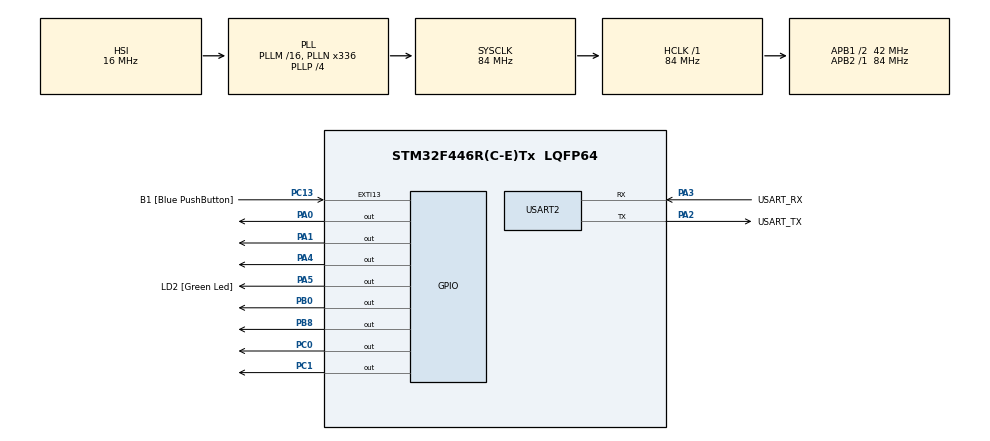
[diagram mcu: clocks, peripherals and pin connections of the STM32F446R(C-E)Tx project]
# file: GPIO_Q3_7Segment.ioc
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Mcu.Family=STM32F4
Mcu.Name=STM32F446R(C-E)Tx
Mcu.Package=LQFP64
NVIC.PriorityGroup=NVIC_PRIORITYGROUP_0
PA0-WKUP.Signal=GPIO_Output
PA1.Signal=GPIO_Output
PA13.GPIO_Label=TMS
PA13.Mode=Serial_Wire
PA13.Signal=SYS_JTMS-SWDIO
PA14.GPIO_Label=TCK
PA14.Mode=Serial_Wire
PA14.Signal=SYS_JTCK-SWCLK
PA2.GPIO_Label=USART_TX
PA2.Mode=Asynchronous
PA2.Signal=USART2_TX
PA3.GPIO_Label=USART_RX
PA3.Mode=Asynchronous
PA3.Signal=USART2_RX
PA4.Signal=GPIO_Output
PA5.GPIO_Label=LD2 [Green Led]
PA5.Signal=GPIO_Output
PB0.Signal=GPIO_Output
PB3.GPIO_Label=SWO
PB3.Signal=SYS_JTDO-SWO
PB8.Signal=GPIO_Output
PC0.Signal=GPIO_Output
PC1.Signal=GPIO_Output
PC13.GPIO_Label=B1 [Blue PushButton]
PC13.GPIO_ModeDefaultEXTI=GPIO_MODE_IT_FALLING
PC13.Signal=GPXTI13
PC14-OSC32_IN.Mode=LSE-External-Oscillator
PC14-OSC32_IN.Signal=RCC_OSC32_IN
PC15-OSC32_OUT.Mode=LSE-External-Oscillator
PC15-OSC32_OUT.Signal=RCC_OSC32_OUT
PH0-OSC_IN.Mode=HSE-External-Oscillator
PH0-OSC_IN.Signal=RCC_OSC_IN
PH1-OSC_OUT.Mode=HSE-External-Oscillator
PH1-OSC_OUT.Signal=RCC_OSC_OUT
ProjectManager.HeapSize=0x200
ProjectManager.StackSize=0x400
ProjectManager.TargetToolchain=STM32CubeIDE
RCC.48MHZClocksFreq_Value=84000000
RCC.AHBFreq_Value=84000000
RCC.APB1CLKDivider=RCC_HCLK_DIV2
RCC.APB1Freq_Value=42000000
RCC.APB1TimFreq_Value=84000000
RCC.APB2Freq_Value=84000000
RCC.APB2TimFreq_Value=84000000
RCC.CortexFreq_Value=84000000
RCC.FLatency-AdvancedSettings=FLASH_LATENCY_2
RCC.HCLKFreq_Value=84000000
RCC.HSE_VALUE=8000000
RCC.HSI_VALUE=16000000
RCC.PLLN=336
RCC.PLLP=RCC_PLLP_DIV4
RCC.SYSCLKFreq_VALUE=84000000
RCC.SYSCLKSource=RCC_SYSCLKSOURCE_PLLCLK
RCC.USBFreq_Value=168000000
RCC.VCOOutputFreq_Value=336000000
USART2.VirtualMode=VM_ASYNC
board=NUCLEO-F446RE

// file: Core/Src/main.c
/*
 * Application : Diplay from 0 to 1 in 7 segment Display
 * Step 1:Write the function for all 0 to 9
 * Step 2:call them in sequential from 0 to 9
 * Step 3: give some delay
 * Author : Deepak
 * Date : 15/04/23

 */
/* USER CODE END Header */
#include "main.h"

/* USER CODE BEGIN Includes */

void display0(){
	          HAL_GPIO_WritePin(GPIOA,GPIO_PIN_0,0);
	          HAL_GPIO_WritePin(GPIOA,GPIO_PIN_1,0);
			  HAL_GPIO_WritePin(GPIOA,GPIO_PIN_4,0);
			  HAL_GPIO_WritePin(GPIOB,GPIO_PIN_0,0);
			  HAL_GPIO_WritePin(GPIOC,GPIO_PIN_0,0);
			  HAL_GPIO_WritePin(GPIOC,GPIO_PIN_1,0);
	HAL_GPIO_WritePin(GPIOB,GPIO_PIN_8,1);
}

void display1(){

      HAL_GPIO_WritePin(GPIOA,GPIO_PIN_1,0);
	  HAL_GPIO_WritePin(GPIOA,GPIO_PIN_4,0);

	HAL_GPIO_WritePin(GPIOA,GPIO_PIN_0,1);
	HAL_GPIO_WritePin(GPIOC,GPIO_PIN_0,1);
	HAL_GPIO_WritePin(GPIOB,GPIO_PIN_8,1);
	HAL_GPIO_WritePin(GPIOC,GPIO_PIN_1,1);
	HAL_GPIO_WritePin(GPIOB,GPIO_PIN_0,1);
}

void display2(){
    HAL_GPIO_WritePin(GPIOA,GPIO_PIN_0,0);
    HAL_GPIO_WritePin(GPIOA,GPIO_PIN_1,0);
	  HAL_GPIO_WritePin(GPIOB,GPIO_PIN_0,0);
	  HAL_GPIO_WritePin(GPIOB,GPIO_PIN_8,0);
	  HAL_GPIO_WritePin(GPIOC,GPIO_PIN_1,0);

	HAL_GPIO_WritePin(GPIOC,GPIO_PIN_0,1);
	HAL_GPIO_WritePin(GPIOA,GPIO_PIN_4,1);
}

void display3(){
    HAL_GPIO_WritePin(GPIOA,GPIO_PIN_0,0);
    HAL_GPIO_WritePin(GPIOA,GPIO_PIN_1,0);
	  HAL_GPIO_WritePin(GPIOA,GPIO_PIN_4,0);
	  HAL_GPIO_WritePin(GPIOB,GPIO_PIN_0,0);
	  HAL_GPIO_WritePin(GPIOB,GPIO_PIN_8,0);

	HAL_GPIO_WritePin(GPIOC,GPIO_PIN_0,1);
	HAL_GPIO_WritePin(GPIOC,GPIO_PIN_1,1);
}

void display4(){

      HAL_GPIO_WritePin(GPIOA,GPIO_PIN_1,0);
	  HAL_GPIO_WritePin(GPIOA,GPIO_PIN_4,0);
	  HAL_GPIO_WritePin(GPIOB,GPIO_PIN_8,0);
	  HAL_GPIO_WritePin(GPIOC,GPIO_PIN_0,0);

	 HAL_GPIO_WritePin(GPIOA,GPIO_PIN_0,1);
	 HAL_GPIO_WritePin(GPIOC,GPIO_PIN_1,1);
	 HAL_GPIO_WritePin(GPIOB,GPIO_PIN_0,1);
}

void display5(){
    HAL_GPIO_WritePin(GPIOA,GPIO_PIN_0,0);
	  HAL_GPIO_WritePin(GPIOA,GPIO_PIN_4,0);
	  HAL_GPIO_WritePin(GPIOB,GPIO_PIN_0,0);
	  HAL_GPIO_WritePin(GPIOB,GPIO_PIN_8,0);
	  HAL_GPIO_WritePin(GPIOC,GPIO_PIN_0,0);

	HAL_GPIO_WritePin(GPIOA,GPIO_PIN_1,1);
	HAL_GPIO_WritePin(GPIOC,GPIO_PIN_1,1);
}

void display6(){
    HAL_GPIO_WritePin(GPIOA,GPIO_PIN_0,0);
	  HAL_GPIO_WritePin(GPIOA,GPIO_PIN_4,0);
	  HAL_GPIO_WritePin(GPIOB,GPIO_PIN_0,0);
	  HAL_GPIO_WritePin(GPIOB,GPIO_PIN_8,0);
	  HAL_GPIO_WritePin(GPIOC,GPIO_PIN_0,0);
	  HAL_GPIO_WritePin(GPIOC,GPIO_PIN_1,0);

	HAL_GPIO_WritePin(GPIOA,GPIO_PIN_1,1);
}

void display7(){
    HAL_GPIO_WritePin(GPIOA,GPIO_PIN_0,0);
    HAL_GPIO_WritePin(GPIOA,GPIO_PIN_1,0);
	  HAL_GPIO_WritePin(GPIOA,GPIO_PIN_4,0);

	HAL_GPIO_WritePin(GPIOC,GPIO_PIN_0,1);
	HAL_GPIO_WritePin(GPIOB,GPIO_PIN_8,1);
	HAL_GPIO_WritePin(GPIOC,GPIO_PIN_1,1);
	HAL_GPIO_WritePin(GPIOB,GPIO_PIN_0,1);
}

void display8(){
    HAL_GPIO_WritePin(GPIOA,GPIO_PIN_0,0);
    HAL_GPIO_WritePin(GPIOA,GPIO_PIN_1,0);
	  HAL_GPIO_WritePin(GPIOA,GPIO_PIN_4,0);
	  HAL_GPIO_WritePin(GPIOB,GPIO_PIN_0,0);
	  HAL_GPIO_WritePin(GPIOB,GPIO_PIN_8,0);
	  HAL_GPIO_WritePin(GPIOC,GPIO_PIN_0,0);
	  HAL_GPIO_WritePin(GPIOC,GPIO_PIN_1,0);

}

void display9(){
      HAL_GPIO_WritePin(GPIOA,GPIO_PIN_0,0);
      HAL_GPIO_WritePin(GPIOA,GPIO_PIN_1,0);
	  HAL_GPIO_WritePin(GPIOA,GPIO_PIN_4,0);
	  HAL_GPIO_WritePin(GPIOB,GPIO_PIN_8,0);
	  HAL_GPIO_WritePin(GPIOC,GPIO_PIN_0,0);

	HAL_GPIO_WritePin(GPIOC,GPIO_PIN_1,1);
	HAL_GPIO_WritePin(GPIOB,GPIO_PIN_0,1);

}

/* USER CODE END Includes */

/* USER CODE BEGIN PTD */
//        HAL_GPIO_WritePin(GPIOA,GPIO_PIN_0,1);
//        HAL_GPIO_WritePin(GPIOA,GPIO_PIN_1,1);
//		  HAL_GPIO_WritePin(GPIOA,GPIO_PIN_4,1);
//		  HAL_GPIO_WritePin(GPIOB,GPIO_PIN_0,1);
//		  HAL_GPIO_WritePin(GPIOB,GPIO_PIN_8,1);
//		  HAL_GPIO_WritePin(GPIOC,GPIO_PIN_0,1);
//		  HAL_GPIO_WritePin(GPIOC,GPIO_PIN_1,1);

/* USER CODE END PTD */

UART_HandleTypeDef huart2;

void SystemClock_Config(void);
static void MX_GPIO_Init(void);
static void MX_USART2_UART_Init(void);

int main(void)
{

  /* MCU Configuration--------------------------------------------------------*/

  /* Reset of all peripherals, Initializes the Flash interface and the Systick. */
  HAL_Init();

  /* Configure the system clock */
  SystemClock_Config();

  /* Initialize all configured peripherals */
  MX_GPIO_Init();
  MX_USART2_UART_Init();

  /* Infinite loop */
  /* USER CODE BEGIN WHILE */
  while (1)
  {
	  display0();
	  HAL_Delay(1000);
	  display1();
	  HAL_Delay(1000);
	  display2();
	  HAL_Delay(1000);
	  display3();
	  HAL_Delay(1000);
	  display4();
	  HAL_Delay(1000);
	  display5();
	  HAL_Delay(1000);
	  display6();
	  HAL_Delay(1000);
	  display7();
	  HAL_Delay(1000);
	  display8();
	  HAL_Delay(1000);
	  display9();
	  HAL_Delay(1000);

    /* USER CODE END WHILE */

  }
}

void SystemClock_Config(void)
{
  RCC_OscInitTypeDef RCC_OscInitStruct = {0};
  RCC_ClkInitTypeDef RCC_ClkInitStruct = {0};

  /** Configure the main internal regulator output voltage
  */
  __HAL_RCC_PWR_CLK_ENABLE();
  __HAL_PWR_VOLTAGESCALING_CONFIG(PWR_REGULATOR_VOLTAGE_SCALE3);

  /** Initializes the RCC Oscillators according to the specified parameters
  * in the RCC_OscInitTypeDef structure.
  */
  RCC_OscInitStruct.OscillatorType = RCC_OSCILLATORTYPE_HSI;
  RCC_OscInitStruct.HSIState = RCC_HSI_ON;
  RCC_OscInitStruct.HSICalibrationValue = RCC_HSICALIBRATION_DEFAULT;
  RCC_OscInitStruct.PLL.PLLState = RCC_PLL_ON;
  RCC_OscInitStruct.PLL.PLLSource = RCC_PLLSOURCE_HSI;
  RCC_OscInitStruct.PLL.PLLM = 16;
  RCC_OscInitStruct.PLL.PLLN = 336;
  RCC_OscInitStruct.PLL.PLLP = RCC_PLLP_DIV4;
  RCC_OscInitStruct.PLL.PLLQ = 2;
  RCC_OscInitStruct.PLL.PLLR = 2;
  if (HAL_RCC_OscConfig(&RCC_OscInitStruct) != HAL_OK)
  {
    Error_Handler();
  }

  /** Initializes the CPU, AHB and APB buses clocks
  */
  RCC_ClkInitStruct.ClockType = RCC_CLOCKTYPE_HCLK|RCC_CLOCKTYPE_SYSCLK
                              |RCC_CLOCKTYPE_PCLK1|RCC_CLOCKTYPE_PCLK2;
  RCC_ClkInitStruct.SYSCLKSource = RCC_SYSCLKSOURCE_PLLCLK;
  RCC_ClkInitStruct.AHBCLKDivider = RCC_SYSCLK_DIV1;
  RCC_ClkInitStruct.APB1CLKDivider = RCC_HCLK_DIV2;
  RCC_ClkInitStruct.APB2CLKDivider = RCC_HCLK_DIV1;

  if (HAL_RCC_ClockConfig(&RCC_ClkInitStruct, FLASH_LATENCY_2) != HAL_OK)
  {
    Error_Handler();
  }
}

static void MX_USART2_UART_Init(void)
{

  huart2.Instance = USART2;
  huart2.Init.BaudRate = 115200;
  huart2.Init.WordLength = UART_WORDLENGTH_8B;
  huart2.Init.StopBits = UART_STOPBITS_1;
  huart2.Init.Parity = UART_PARITY_NONE;
  huart2.Init.Mode = UART_MODE_TX_RX;
  huart2.Init.HwFlowCtl = UART_HWCONTROL_NONE;
  huart2.Init.OverSampling = UART_OVERSAMPLING_16;
  if (HAL_UART_Init(&huart2) != HAL_OK)
  {
    Error_Handler();
  }

}

static void MX_GPIO_Init(void)
{
  GPIO_InitTypeDef GPIO_InitStruct = {0};

  /* GPIO Ports Clock Enable */
  __HAL_RCC_GPIOC_CLK_ENABLE();
  __HAL_RCC_GPIOH_CLK_ENABLE();
  __HAL_RCC_GPIOA_CLK_ENABLE();
  __HAL_RCC_GPIOB_CLK_ENABLE();

  /*Configure GPIO pin Output Level */
  HAL_GPIO_WritePin(GPIOC, GPIO_PIN_0|GPIO_PIN_1, GPIO_PIN_RESET);

  /*Configure GPIO pin Output Level */
  HAL_GPIO_WritePin(GPIOA, GPIO_PIN_0|GPIO_PIN_1|GPIO_PIN_4|LD2_Pin, GPIO_PIN_RESET);

  /*Configure GPIO pin Output Level */
  HAL_GPIO_WritePin(GPIOB, GPIO_PIN_0|GPIO_PIN_8, GPIO_PIN_RESET);

  /*Configure GPIO pin : B1_Pin */
  GPIO_InitStruct.Pin = B1_Pin;
  GPIO_InitStruct.Mode = GPIO_MODE_IT_FALLING;
  GPIO_InitStruct.Pull = GPIO_NOPULL;
  HAL_GPIO_Init(B1_GPIO_Port, &GPIO_InitStruct);

  /*Configure GPIO pins : PC0 PC1 */
  GPIO_InitStruct.Pin = GPIO_PIN_0|GPIO_PIN_1;
  GPIO_InitStruct.Mode = GPIO_MODE_OUTPUT_PP;
  GPIO_InitStruct.Pull = GPIO_NOPULL;
  GPIO_InitStruct.Speed = GPIO_SPEED_FREQ_LOW;
  HAL_GPIO_Init(GPIOC, &GPIO_InitStruct);

  /*Configure GPIO pins : PA0 PA1 PA4 LD2_Pin */
  GPIO_InitStruct.Pin = GPIO_PIN_0|GPIO_PIN_1|GPIO_PIN_4|LD2_Pin;
  GPIO_InitStruct.Mode = GPIO_MODE_OUTPUT_PP;
  GPIO_InitStruct.Pull = GPIO_NOPULL;
  GPIO_InitStruct.Speed = GPIO_SPEED_FREQ_LOW;
  HAL_GPIO_Init(GPIOA, &GPIO_InitStruct);

  /*Configure GPIO pins : PB0 PB8 */
  GPIO_InitStruct.Pin = GPIO_PIN_0|GPIO_PIN_8;
  GPIO_InitStruct.Mode = GPIO_MODE_OUTPUT_PP;
  GPIO_InitStruct.Pull = GPIO_NOPULL;
  GPIO_InitStruct.Speed = GPIO_SPEED_FREQ_LOW;
  HAL_GPIO_Init(GPIOB, &GPIO_InitStruct);

}

void Error_Handler(void)
{
  __disable_irq();
  while (1)
  {
  }
}
